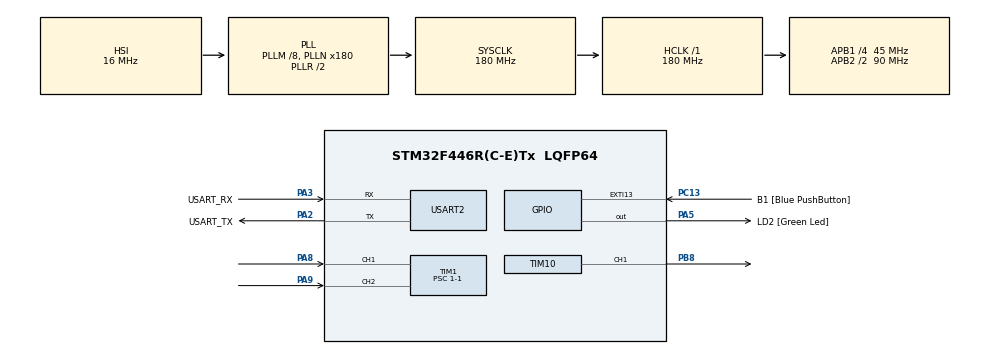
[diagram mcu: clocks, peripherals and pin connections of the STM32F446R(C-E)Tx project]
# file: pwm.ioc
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Mcu.Family=STM32F4
Mcu.Name=STM32F446R(C-E)Tx
Mcu.Package=LQFP64
NVIC.PriorityGroup=NVIC_PRIORITYGROUP_0
PA13.GPIO_Label=TMS
PA13.Mode=Serial_Wire
PA13.Signal=SYS_JTMS-SWDIO
PA14.GPIO_Label=TCK
PA14.Mode=Serial_Wire
PA14.Signal=SYS_JTCK-SWCLK
PA2.GPIO_Label=USART_TX
PA2.Mode=Asynchronous
PA2.Signal=USART2_TX
PA3.GPIO_Label=USART_RX
PA3.Mode=Asynchronous
PA3.Signal=USART2_RX
PA5.GPIO_Label=LD2 [Green Led]
PA5.Signal=GPIO_Output
PA8.Signal=S_TIM1_CH1
PA9.Signal=S_TIM1_CH2
PB3.GPIO_Label=SWO
PB3.Signal=SYS_JTDO-SWO
PB8.Signal=S_TIM10_CH1
PC13.GPIO_Label=B1 [Blue PushButton]
PC13.GPIO_ModeDefaultEXTI=GPIO_MODE_IT_FALLING
PC13.Signal=GPXTI13
PC14-OSC32_IN.Mode=LSE-External-Oscillator
PC14-OSC32_IN.Signal=RCC_OSC32_IN
PC15-OSC32_OUT.Mode=LSE-External-Oscillator
PC15-OSC32_OUT.Signal=RCC_OSC32_OUT
PH0-OSC_IN.Mode=HSE-External-Oscillator
PH0-OSC_IN.Signal=RCC_OSC_IN
PH1-OSC_OUT.Mode=HSE-External-Oscillator
PH1-OSC_OUT.Signal=RCC_OSC_OUT
ProjectManager.HeapSize=0x200
ProjectManager.StackSize=0x400
ProjectManager.TargetToolchain=STM32CubeIDE
RCC.48MHZClocksFreq_Value=84000000
RCC.AHBFreq_Value=180000000
RCC.APB1CLKDivider=RCC_HCLK_DIV4
RCC.APB1Freq_Value=45000000
RCC.APB1TimFreq_Value=90000000
RCC.APB2CLKDivider=RCC_HCLK_DIV2
RCC.APB2Freq_Value=90000000
RCC.APB2TimFreq_Value=180000000
RCC.CortexFreq_Value=180000000
RCC.FLatency-AdvancedSettings=FLASH_LATENCY_5
RCC.HCLKFreq_Value=180000000
RCC.HSE_VALUE=8000000
RCC.HSI_VALUE=16000000
RCC.PLLM=8
RCC.PLLN=180
RCC.PLLP=RCC_PLLP_DIV4
RCC.SYSCLKFreq_VALUE=180000000
RCC.SYSCLKSource=RCC_SYSCLKSOURCE_PLLRCLK
RCC.USBFreq_Value=180000000
RCC.VCOOutputFreq_Value=360000000
SH.S_TIM10_CH1.0=TIM10_CH1,PWM Generation1 CH1
SH.S_TIM1_CH1.0=TIM1_CH1,Input_Capture1_from_TI1
SH.S_TIM1_CH2.0=TIM1_CH2,Input_Capture2_from_TI2
SH.S_TIM1_CH2.1=TIM1_CH2,TriggerSource_TI2FP2
TIM1.Channel-Input_Capture1_from_TI1=TIM_CHANNEL_1
TIM1.Channel-Input_Capture2_from_TI2=TIM_CHANNEL_2
TIM1.Period=0xffff-1
TIM1.Prescaler=1-1
TIM10.Channel=TIM_CHANNEL_1
TIM10.OCFastMode_PWM=TIM_OCFAST_ENABLE
TIM10.Period=1800
TIM10.Prescaler=1-1
TIM10.Pulse=18
USART2.VirtualMode=VM_ASYNC
VP_TIM10_VS_ClockSourceINT.Mode=Enable_Timer
VP_TIM1_VS_ClockSourceINT.Mode=Internal
VP_TIM1_VS_ControllerModeReset.Mode=Reset Mode
board=NUCLEO-F446RE

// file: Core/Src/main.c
/* USER CODE BEGIN Header */
/**
  ******************************************************************************
  * @file           : main.c
  * @brief          : Main program body
  ******************************************************************************
  * @attention
  *
  * <h2><center>&copy; Copyright (c) 2020 STMicroelectronics.
  * All rights reserved.</center></h2>
  *
  * This software component is licensed by ST under BSD 3-Clause license,
  * the "License"; You may not use this file except in compliance with the
  * License. You may obtain a copy of the License at:
  *                        opensource.org/licenses/BSD-3-Clause
  *
  ******************************************************************************
  */
/* USER CODE END Header */

#include "main.h"

TIM_HandleTypeDef htim1;
TIM_HandleTypeDef htim10;

UART_HandleTypeDef huart2;

void SystemClock_Config(void);
static void MX_GPIO_Init(void);
static void MX_USART2_UART_Init(void);
static void MX_TIM10_Init(void);
static void MX_TIM1_Init(void);

/* USER CODE BEGIN 0 */
uint8_t STAMP_1 = 0;
uint8_t STAMP_2 = 0;
uint8_t difference = 0;
uint8_t myTxData[7] = "ADC=\r\n";
volatile char buffer[8];
volatile int i = 0;

void HAL_TIM_IC_CaptureCallback(TIM_HandleTypeDef *htim){
	if(htim->Channel == HAL_TIM_ACTIVE_CHANNEL_1){
			STAMP_1 = HAL_TIM_ReadCapturedValue(htim, TIM_CHANNEL_1);
			i = (i+1)%100;
		}
}

/* USER CODE END 0 */

int main(void)
{

  /* MCU Configuration--------------------------------------------------------*/

  /* Reset of all peripherals, Initializes the Flash interface and the Systick. */
  HAL_Init();

  /* Configure the system clock */
  SystemClock_Config();

  /* Initialize all configured peripherals */
  MX_GPIO_Init();
  MX_USART2_UART_Init();
  MX_TIM10_Init();
  MX_TIM1_Init();
  /* USER CODE BEGIN 2 */
  HAL_TIM_PWM_Start(&htim10, TIM_CHANNEL_1 );
  HAL_TIM_IC_Start_IT(&htim1, TIM_CHANNEL_1);
  HAL_TIM_IC_Start_IT(&htim1, TIM_CHANNEL_2);
  /* USER CODE END 2 */

  /* Infinite loop */
  while (1)
  {

    /* USER CODE BEGIN 3 */
	  HAL_UART_Transmit(&huart2, (uint8_t*)buffer, sprintf(buffer, "%i\r\n", i), 500);
	  HAL_Delay(10);
  }
  /* USER CODE END 3 */
}

void SystemClock_Config(void)
{
  RCC_OscInitTypeDef RCC_OscInitStruct = {0};
  RCC_ClkInitTypeDef RCC_ClkInitStruct = {0};

  /** Configure the main internal regulator output voltage
  */
  __HAL_RCC_PWR_CLK_ENABLE();
  __HAL_PWR_VOLTAGESCALING_CONFIG(PWR_REGULATOR_VOLTAGE_SCALE1);
  /** Initializes the CPU, AHB and APB busses clocks
  */
  RCC_OscInitStruct.OscillatorType = RCC_OSCILLATORTYPE_HSI;
  RCC_OscInitStruct.HSIState = RCC_HSI_ON;
  RCC_OscInitStruct.HSICalibrationValue = RCC_HSICALIBRATION_DEFAULT;
  RCC_OscInitStruct.PLL.PLLState = RCC_PLL_ON;
  RCC_OscInitStruct.PLL.PLLSource = RCC_PLLSOURCE_HSI;
  RCC_OscInitStruct.PLL.PLLM = 8;
  RCC_OscInitStruct.PLL.PLLN = 180;
  RCC_OscInitStruct.PLL.PLLP = RCC_PLLP_DIV4;
  RCC_OscInitStruct.PLL.PLLQ = 2;
  RCC_OscInitStruct.PLL.PLLR = 2;
  if (HAL_RCC_OscConfig(&RCC_OscInitStruct) != HAL_OK)
  {
    Error_Handler();
  }
  /** Activate the Over-Drive mode
  */
  if (HAL_PWREx_EnableOverDrive() != HAL_OK)
  {
    Error_Handler();
  }
  /** Initializes the CPU, AHB and APB busses clocks
  */
  RCC_ClkInitStruct.ClockType = RCC_CLOCKTYPE_HCLK|RCC_CLOCKTYPE_SYSCLK
                              |RCC_CLOCKTYPE_PCLK1|RCC_CLOCKTYPE_PCLK2;
  RCC_ClkInitStruct.SYSCLKSource = RCC_SYSCLKSOURCE_PLLRCLK;
  RCC_ClkInitStruct.AHBCLKDivider = RCC_SYSCLK_DIV1;
  RCC_ClkInitStruct.APB1CLKDivider = RCC_HCLK_DIV4;
  RCC_ClkInitStruct.APB2CLKDivider = RCC_HCLK_DIV2;

  if (HAL_RCC_ClockConfig(&RCC_ClkInitStruct, FLASH_LATENCY_5) != HAL_OK)
  {
    Error_Handler();
  }
}

static void MX_TIM1_Init(void)
{

  TIM_ClockConfigTypeDef sClockSourceConfig = {0};
  TIM_SlaveConfigTypeDef sSlaveConfig = {0};
  TIM_MasterConfigTypeDef sMasterConfig = {0};
  TIM_IC_InitTypeDef sConfigIC = {0};

  htim1.Instance = TIM1;
  htim1.Init.Prescaler = 1-1;
  htim1.Init.CounterMode = TIM_COUNTERMODE_UP;
  htim1.Init.Period = 0xffff-1;
  htim1.Init.ClockDivision = TIM_CLOCKDIVISION_DIV1;
  htim1.Init.RepetitionCounter = 0;
  htim1.Init.AutoReloadPreload = TIM_AUTORELOAD_PRELOAD_DISABLE;
  if (HAL_TIM_Base_Init(&htim1) != HAL_OK)
  {
    Error_Handler();
  }
  sClockSourceConfig.ClockSource = TIM_CLOCKSOURCE_INTERNAL;
  if (HAL_TIM_ConfigClockSource(&htim1, &sClockSourceConfig) != HAL_OK)
  {
    Error_Handler();
  }
  if (HAL_TIM_IC_Init(&htim1) != HAL_OK)
  {
    Error_Handler();
  }
  sSlaveConfig.SlaveMode = TIM_SLAVEMODE_RESET;
  sSlaveConfig.InputTrigger = TIM_TS_TI2FP2;
  sSlaveConfig.TriggerPolarity = TIM_INPUTCHANNELPOLARITY_RISING;
  sSlaveConfig.TriggerFilter = 0;
  if (HAL_TIM_SlaveConfigSynchro(&htim1, &sSlaveConfig) != HAL_OK)
  {
    Error_Handler();
  }
  sMasterConfig.MasterOutputTrigger = TIM_TRGO_RESET;
  sMasterConfig.MasterSlaveMode = TIM_MASTERSLAVEMODE_DISABLE;
  if (HAL_TIMEx_MasterConfigSynchronization(&htim1, &sMasterConfig) != HAL_OK)
  {
    Error_Handler();
  }
  sConfigIC.ICPolarity = TIM_INPUTCHANNELPOLARITY_RISING;
  sConfigIC.ICSelection = TIM_ICSELECTION_DIRECTTI;
  sConfigIC.ICPrescaler = TIM_ICPSC_DIV1;
  sConfigIC.ICFilter = 0;
  if (HAL_TIM_IC_ConfigChannel(&htim1, &sConfigIC, TIM_CHANNEL_1) != HAL_OK)
  {
    Error_Handler();
  }
  if (HAL_TIM_IC_ConfigChannel(&htim1, &sConfigIC, TIM_CHANNEL_2) != HAL_OK)
  {
    Error_Handler();
  }

}

static void MX_TIM10_Init(void)
{

  TIM_OC_InitTypeDef sConfigOC = {0};

  htim10.Instance = TIM10;
  htim10.Init.Prescaler = 1-1;
  htim10.Init.CounterMode = TIM_COUNTERMODE_UP;
  htim10.Init.Period = 1800;
  htim10.Init.ClockDivision = TIM_CLOCKDIVISION_DIV1;
  htim10.Init.AutoReloadPreload = TIM_AUTORELOAD_PRELOAD_DISABLE;
  if (HAL_TIM_Base_Init(&htim10) != HAL_OK)
  {
    Error_Handler();
  }
  if (HAL_TIM_PWM_Init(&htim10) != HAL_OK)
  {
    Error_Handler();
  }
  sConfigOC.OCMode = TIM_OCMODE_PWM1;
  sConfigOC.Pulse = 18;
  sConfigOC.OCPolarity = TIM_OCPOLARITY_HIGH;
  sConfigOC.OCFastMode = TIM_OCFAST_ENABLE;
  if (HAL_TIM_PWM_ConfigChannel(&htim10, &sConfigOC, TIM_CHANNEL_1) != HAL_OK)
  {
    Error_Handler();
  }
  HAL_TIM_MspPostInit(&htim10);

}

static void MX_USART2_UART_Init(void)
{

  huart2.Instance = USART2;
  huart2.Init.BaudRate = 115200;
  huart2.Init.WordLength = UART_WORDLENGTH_8B;
  huart2.Init.StopBits = UART_STOPBITS_1;
  huart2.Init.Parity = UART_PARITY_NONE;
  huart2.Init.Mode = UART_MODE_TX_RX;
  huart2.Init.HwFlowCtl = UART_HWCONTROL_NONE;
  huart2.Init.OverSampling = UART_OVERSAMPLING_16;
  if (HAL_UART_Init(&huart2) != HAL_OK)
  {
    Error_Handler();
  }

}

static void MX_GPIO_Init(void)
{
  GPIO_InitTypeDef GPIO_InitStruct = {0};

  /* GPIO Ports Clock Enable */
  __HAL_RCC_GPIOC_CLK_ENABLE();
  __HAL_RCC_GPIOH_CLK_ENABLE();
  __HAL_RCC_GPIOA_CLK_ENABLE();
  __HAL_RCC_GPIOB_CLK_ENABLE();

  /*Configure GPIO pin Output Level */
  HAL_GPIO_WritePin(LD2_GPIO_Port, LD2_Pin, GPIO_PIN_RESET);

  /*Configure GPIO pin : B1_Pin */
  GPIO_InitStruct.Pin = B1_Pin;
  GPIO_InitStruct.Mode = GPIO_MODE_IT_FALLING;
  GPIO_InitStruct.Pull = GPIO_NOPULL;
  HAL_GPIO_Init(B1_GPIO_Port, &GPIO_InitStruct);

  /*Configure GPIO pin : LD2_Pin */
  GPIO_InitStruct.Pin = LD2_Pin;
  GPIO_InitStruct.Mode = GPIO_MODE_OUTPUT_PP;
  GPIO_InitStruct.Pull = GPIO_NOPULL;
  GPIO_InitStruct.Speed = GPIO_SPEED_FREQ_LOW;
  HAL_GPIO_Init(LD2_GPIO_Port, &GPIO_InitStruct);

}

void Error_Handler(void)
{
}

/************************ (C) COPYRIGHT STMicroelectronics *****END OF FILE****/
